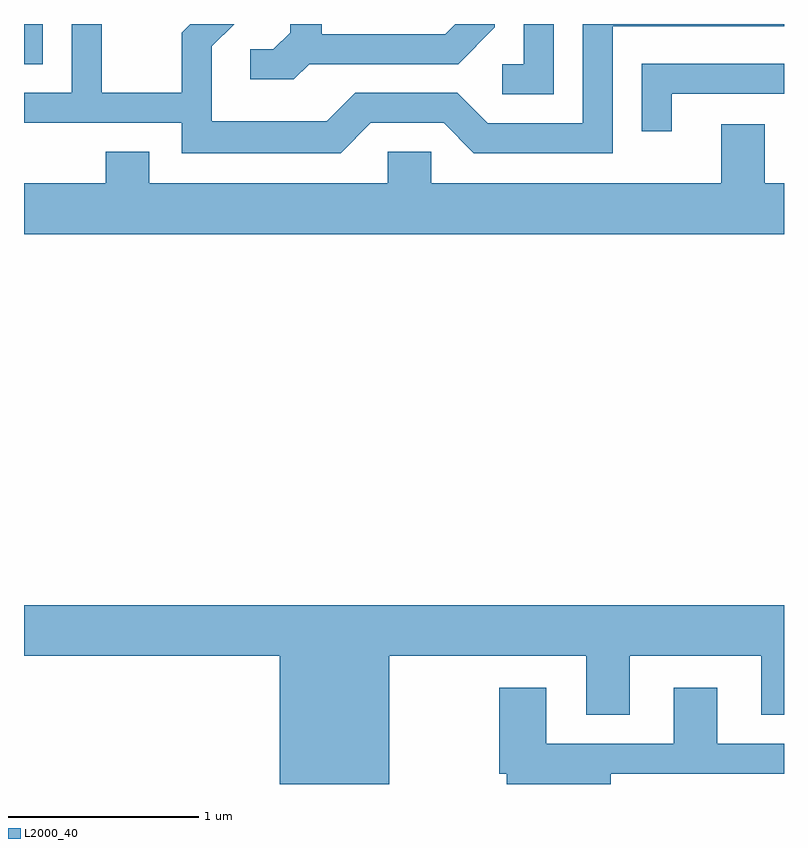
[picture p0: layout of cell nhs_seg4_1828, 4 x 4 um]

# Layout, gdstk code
import gdstk
lib = gdstk.Library(unit=1e-6, precision=1e-09)
def R(c, l, rs):  # rectangles x0, y0, x1, y1
    for r in rs: c.add(gdstk.rectangle(r[:2], r[2:], *l))
def P(c, l, *ps):  # polygons
    for p in ps: c.add(gdstk.Polygon(p, *l))
L2000_40 = (2000, 40)

nhs_seg4_1828 = lib.new_cell('nhs_seg4_1828')
R(nhs_seg4_1828, L2000_40, [(237.611,1377.771,237.709,1377.982)])
P(nhs_seg4_1828, L2000_40, [(239.437,1377.461),(239.819,1377.461),(239.979,1377.301),(240.709,1377.301),(240.709,1377.971),(241.611,1377.971),(241.611,1377.982),(240.551,1377.982),(240.551,1377.459),(240.052,1377.459),(239.892,1377.619),(239.354,1377.619),(239.204,1377.469),(238.599,1377.469),(238.599,1377.864),(238.717,1377.982),(238.486,1377.982),(238.441,1377.937),(238.441,1377.619),(238.019,1377.619),(238.019,1377.982),(237.861,1377.982),(237.861,1377.619),(237.611,1377.619),(237.611,1377.461),(238.441,1377.461),(238.441,1377.301),(239.277,1377.301)],
  [(239.112,1377.771),(239.897,1377.771),(240.089,1377.964),(240.089,1377.982),(239.881,1377.982),(239.829,1377.929),(239.179,1377.929),(239.179,1377.982),(239.011,1377.982),(239.011,1377.937),(238.924,1377.849),(238.803,1377.849),(238.803,1377.691),(239.032,1377.691)],
  [(240.399,1377.982),(240.241,1377.982),(240.241,1377.769),(240.128,1377.769),(240.128,1377.611),(240.399,1377.611)],
  [(241.019,1377.616),(241.611,1377.616),(241.611,1377.774),(240.861,1377.774),(240.861,1377.418),(241.019,1377.418)],
  [(241.611,1377.144),(241.509,1377.144),(241.509,1377.454),(241.281,1377.454),(241.281,1377.144),(239.754,1377.144),(239.754,1377.309),(239.526,1377.309),(239.526,1377.144),(238.269,1377.144),(238.269,1377.309),(238.041,1377.309),(238.041,1377.144),(237.611,1377.144),(237.611,1376.876),(241.611,1376.876)],
  [(239.534,1374.656),(240.571,1374.656),(240.571,1374.346),(240.799,1374.346),(240.799,1374.656),(241.491,1374.656),(241.491,1374.346),(241.611,1374.346),(241.611,1374.924),(237.611,1374.924),(237.611,1374.656),(238.956,1374.656),(238.956,1373.982),(239.534,1373.982)],
  [(240.699,1374.036),(241.611,1374.036),(241.611,1374.194),(241.259,1374.194),(241.259,1374.489),(241.031,1374.489),(241.031,1374.194),(240.359,1374.194),(240.359,1374.489),(240.111,1374.489),(240.111,1374.036),(240.151,1374.036),(240.151,1373.982),(240.699,1373.982)])

lib.write_gds('nhs_seg4_1828.gds')
